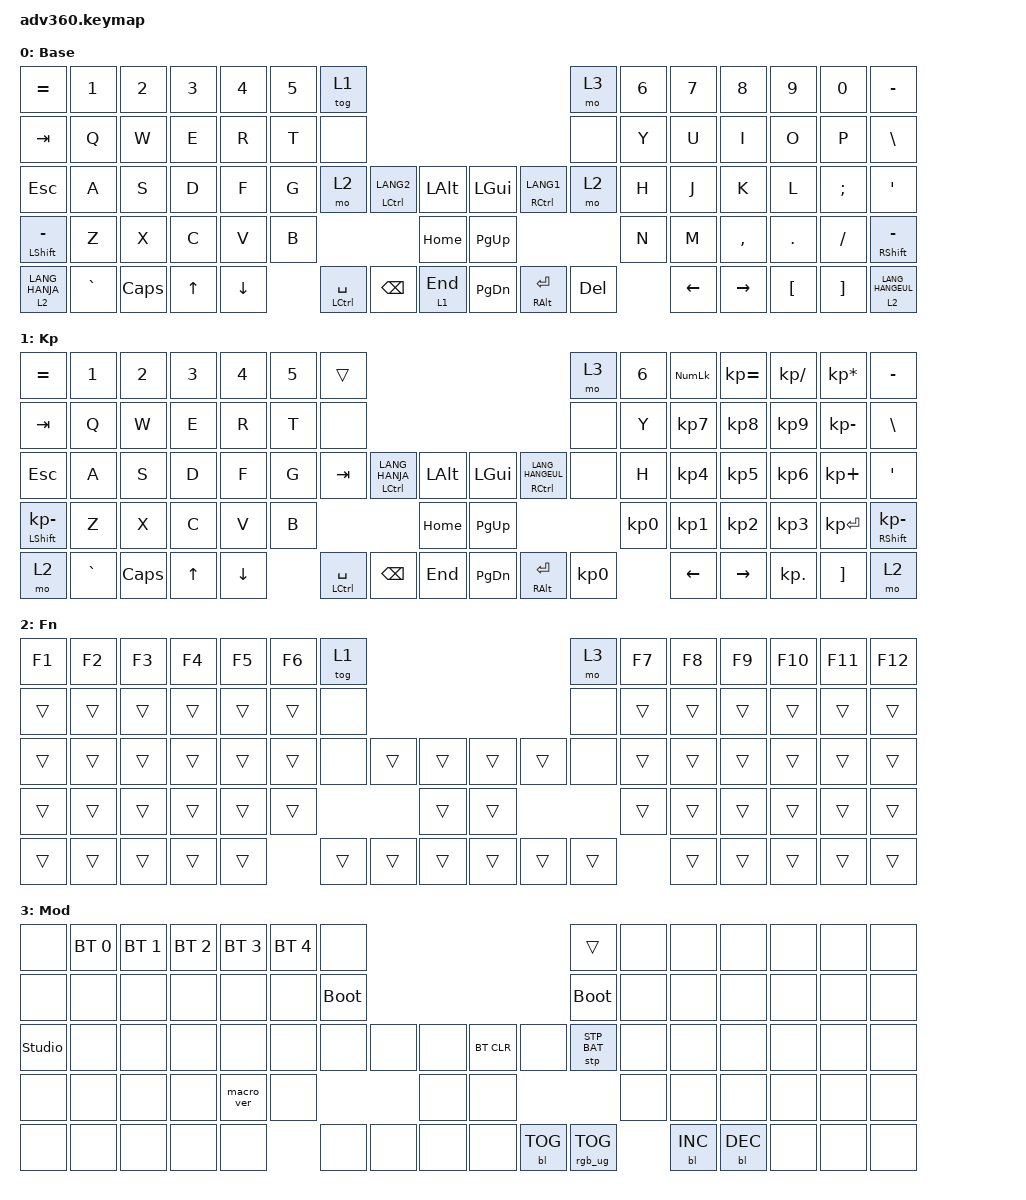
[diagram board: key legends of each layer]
#include <dt-bindings/zmk/stp.h>
#include <behaviors.dtsi>
#include <dt-bindings/zmk/backlight.h>
#include <dt-bindings/zmk/bt.h>
#include <dt-bindings/zmk/keys.h>
#include <dt-bindings/zmk/rgb.h>

/ {
    behaviors {
        #include "macros.dtsi"
      #include "version.dtsi"

        hm: homerow_mods {
            compatible = "zmk,behavior-hold-tap";
            label = "HOMEROW_MODS";
            #binding-cells = <2>;
            tapping-term-ms = <200>;
            quick_tap_ms = <175>;
            flavor = "tap-preferred";
            bindings = <&kp>, <&kp>;
        };
    };

    keymap {
        compatible = "zmk,keymap";

        default_layer {
            display-name = "Base";
            bindings = <
&kp EQUAL             &kp N1     &kp N2    &kp N3        &kp N4    &kp N5  &tog 1                                                                              &mo 3    &kp N6  &kp N7    &kp N8     &kp N9    &kp N0    &kp MINUS
&kp TAB               &kp Q      &kp W     &kp E         &kp R     &kp T   &none                                                                               &none    &kp Y   &kp U     &kp I      &kp O     &kp P     &kp BSLH
&kp ESC               &kp A      &kp S     &kp D         &kp F     &kp G   &mo 2                   &mt LCTRL LANG2  &kp LALT       &kp LGUI   &mt RCTRL LANG1  &mo 2    &kp H   &kp J     &kp K      &kp L     &kp SEMI  &kp SQT
&mt LEFT_SHIFT MINUS  &kp Z      &kp X     &kp C         &kp V     &kp B                                            &kp HOME       &kp PG_UP                            &kp N   &kp M     &kp COMMA  &kp DOT   &kp FSLH  &mt RSHFT MINUS
&lt 2 LANG_HANJA      &kp GRAVE  &kp CAPS  &kp UP_ARROW  &kp DOWN          &mt LEFT_CONTROL SPACE  &kp BACKSPACE    &lt 1 END      &kp PG_DN  &mt RALT ENTER   &kp DEL          &kp LEFT  &kp RIGHT  &kp LBKT  &kp RBKT  &lt 2 LANG_HANGEUL
            >;
        };

        keypad {
            display-name = "Kp";
            bindings = <
&kp EQUAL           &kp N1     &kp N2    &kp N3        &kp N4          &kp N5  &trans                                                                                         &mo 3      &kp N6           &kp KP_NUM  &kp KP_EQUAL  &kp KP_DIVIDE  &kp KP_MULTIPLY  &kp MINUS
&kp TAB             &kp Q      &kp W     &kp E         &kp R           &kp T   &none                                                                                          &none      &kp Y            &kp KP_N7   &kp KP_N8     &kp KP_N9      &kp KP_MINUS     &kp BSLH
&kp ESC             &kp A      &kp S     &kp D         &kp F           &kp G   &kp TAB                 &mt LCTRL LANG_HANJA  &kp LALT      &kp LGUI   &mt RCTRL LANG_HANGEUL  &none      &kp H            &kp KP_N4   &kp KP_N5     &kp KP_N6      &kp KP_PLUS      &kp SQT
&mt LSHFT KP_MINUS  &kp Z      &kp X     &kp C         &kp V           &kp B                                                 &kp HOME      &kp PG_UP                                     &kp KP_NUMBER_0  &kp KP_N1   &kp KP_N2     &kp KP_N3      &kp KP_ENTER     &mt RSHFT KP_SUBTRACT
&mo 2               &kp GRAVE  &kp CAPS  &kp UP_ARROW  &kp DOWN_ARROW          &mt LEFT_CONTROL SPACE  &kp BACKSPACE         &kp END       &kp PG_DN  &mt RIGHT_ALT ENTER     &kp KP_N0                   &kp LEFT    &kp RIGHT     &kp KP_DOT     &kp RBKT         &mo 2
            >;
        };

        fn {
            display-name = "Fn";
            bindings = <
&kp F1  &kp F2  &kp F3  &kp F4  &kp F5  &kp F6  &tog 1                                      &mo 3   &kp F7  &kp F8  &kp F9  &kp F10  &kp F11  &kp F12
&trans  &trans  &trans  &trans  &trans  &trans  &none                                       &none   &trans  &trans  &trans  &trans   &trans   &trans
&trans  &trans  &trans  &trans  &trans  &trans  &none   &trans  &trans      &trans  &trans  &none   &trans  &trans  &trans  &trans   &trans   &trans
&trans  &trans  &trans  &trans  &trans  &trans                  &trans      &trans                  &trans  &trans  &trans  &trans   &trans   &trans
&trans  &trans  &trans  &trans  &trans          &trans  &trans  &trans      &trans  &trans  &trans          &trans  &trans  &trans   &trans   &trans
            >;
        };

        mod {
            display-name = "Mod";
            bindings = <
&none           &bt BT_SEL 0  &bt BT_SEL 1  &bt BT_SEL 2  &bt BT_SEL 3  &bt BT_SEL 4  &none                                                  &trans           &none  &none       &none       &none  &none  &none
&none           &none         &none         &none         &none         &none         &bootloader                                            &bootloader      &none  &none       &none       &none  &none  &none
&studio_unlock  &none         &none         &none         &none         &none         &none        &none  &none      &bt BT_CLR  &none       &stp STP_BAT     &none  &none       &none       &none  &none  &none
&none           &none         &none         &none         &macro_ver    &none                             &none      &none                                    &none  &none       &none       &none  &none  &none
&none           &none         &none         &none         &none                       &none        &none  &none      &none       &bl BL_TOG  &rgb_ug RGB_TOG         &bl BL_INC  &bl BL_DEC  &none  &none  &none
            >;
        };

        extra1 {
            display-name = "Red";
            status = "reserved";
        };

        extra2 {
            display-name = "Purple";
            status = "reserved";
        };

        extra3 {
            display-name = "Cyan";
            status = "reserved";
        };

        extra4 {
            display-name = "Yellow";
            status = "reserved";
        };
    };
};
